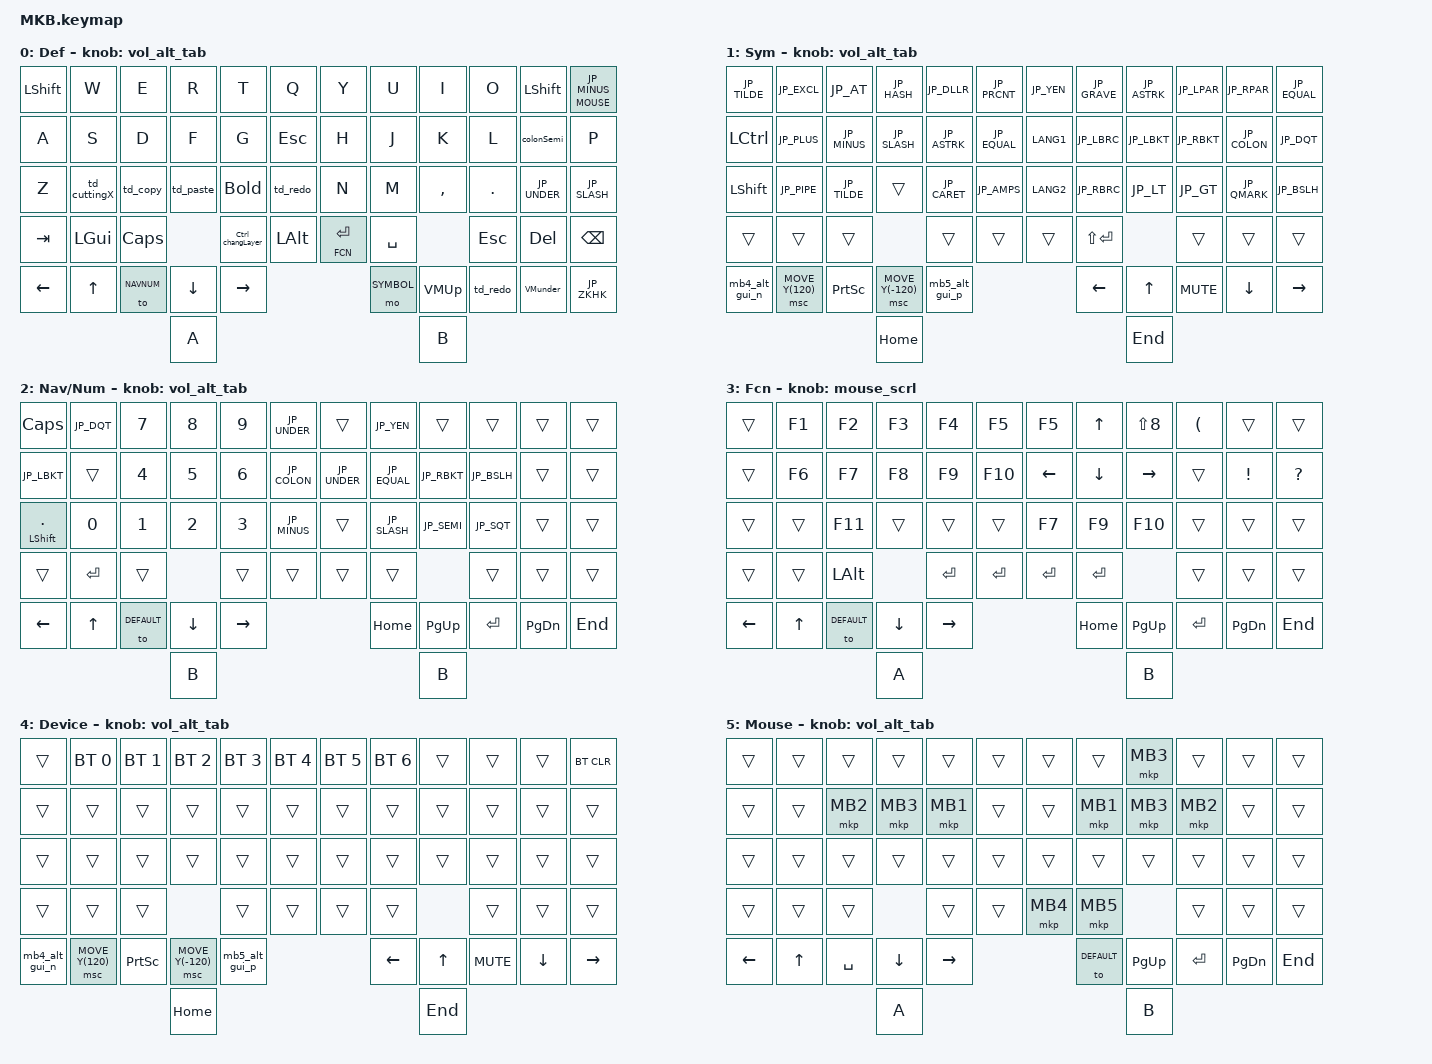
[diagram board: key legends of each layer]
#include <behaviors.dtsi>
#include <dt-bindings/zmk/bt.h>
#include <dt-bindings/zmk/keys.h>
#include <dt-bindings/zmk/pointing.h>
#include <dt-bindings/zmk/outputs.h>

#include "keycode_japanese.h"

#define DEFAULT 0
#define SYMBOL 1
#define NAVNUM 2
#define FCN 3
#define DEVICE 4
#define MOUSE 5
#define SCUP_S MOVE_Y(120)
#define SCUP_F MOVE_Y(1200)
#define SCDN_S MOVE_Y(-120)
#define SCDN_F MOVE_Y(-1200)

&mt {
    flavor = "hold-preferred";
};

&lt {
    flavor = "hold-preferred";
};

// &msc { 
//     delay-ms = <0>;
//     trigger-period-ms = <100>; // default:16
//     x-input-code = <INPUT_REL_HWHEEL>;
//     y-input-code = <INPUT_REL_WHEEL>;
//     time-to-max-speed-ms = <300>;
//     acceleration-exponent = <0>;
// };

/ {

    // msc_input_listener: msch_input_listener {
    //     compatible = "zmk,input-listener";
    //     device = <&msch>;
    //     // input-processors = 
    // };

    conditional_layers {
        compatible = "zmk,conditional-layers";
        device_layer {
            if-layers = <SYMBOL NAVNUM>;
            then-layer = <DEVICE>;
        };
    };

    combos {
        compatible = "zmk,combos";

        twinTap_TAB {
            bindings = <&kp TAB>;
            key-positions = <18 19>;
        };
    };
    behaviors {
        td_copy: td_copy {
            compatible = "zmk,behavior-tap-dance";
            label = "TD_COPY";
            #binding-cells = <0>;
            bindings = <&kp C>, <&kp LC(C)>;
            tapping-term-ms = <180>;
        };

        td_paste: td_paste {
            compatible = "zmk,behavior-tap-dance";
            label = "TD_PASTE";
            #binding-cells = <0>;
            bindings = <&kp V>, <&kp LC(V)>;
            tapping-term-ms = <180>;
        };

        td_redo: td_redo {
            compatible = "zmk,behavior-tap-dance";
            label = "TD_REDO";
            #binding-cells = <0>;
            bindings = <&kp LC(Z)>;
            tapping-term-ms = <180>;
        };

        td_cuttingX: td_cuttingX {
            compatible = "zmk,behavior-tap-dance";
            label = "TD_CUTTINGX";
            #binding-cells = <0>;
            bindings = <&kp X>, <&kp LC(X)>;
            tapping-term-ms = <180>;
        };

        Bold: Bold {
            compatible = "zmk,behavior-tap-dance";
            label = "BOLD";
            #binding-cells = <0>;
            bindings = <&kp B>, <&kp LC(B)>;
        };

        VMUp: VMUp {
            compatible = "zmk,behavior-macro";
            #binding-cells = <0>;
            bindings = <&kp LC(LG(RIGHT_ARROW))>;
            label = "VMUP";
        };

        VMunder: VMunder {
            compatible = "zmk,behavior-macro";
            #binding-cells = <0>;
            bindings = <&kp LC(LG(LEFT_ARROW))>;
            label = "VMUNDER";
        };

        TY53754: TY53754 {
            compatible = "zmk,behavior-macro";
            #binding-cells = <0>;
            bindings = <&kp LS(T) &kp LS(Y) &kp N5 &kp N3 &kp N7 &kp N5 &kp N4>;
            label = "TY53754";
            tap-ms = <150>;
        };

        word: word {
            compatible = "zmk,behavior-macro";
            #binding-cells = <0>;
            bindings = <&kp N0 &kp N5 &kp N0 &kp N2 &kp H &kp A &kp S &kp I &kp LS(M)>;
            label = "word";
        };

        Ctrl_changLayer: Ctrl_changLayer {
            compatible = "zmk,behavior-tap-dance";
            label = "CTRL_CHANGLAYER";
            #binding-cells = <0>;
            bindings = <&kp LCTRL>, <&lt NAVNUM LCTRL>;
            tapping-term-ms = <180>;
        };

        colonSemi: colonSemi {
            compatible = "zmk,behavior-tap-dance";
            label = "COLONSEMI";
            #binding-cells = <0>;
            bindings = <&kp JP_COLON>, <&kp JP_SEMI>;
            tapping-term-ms = <180>;
        };

        msch: msc-hold {
            compatible = "zmk,behavior-input-two-axis";
            #binding-cells = <1>;
            x-input-code = <INPUT_REL_HWHEEL>;
            y-input-code = <INPUT_REL_WHEEL>;
            time-to-max-speed-ms = <300>;
            acceleration-exponent = <0>;
        };
        msc_dt: msc-double-tap {
            compatible = "zmk,behavior-hold-tap";
            #binding-cells = <2>;
            flavor = "hold-preferred";
            tapping-term-ms = <100>;
            quick-tap-ms = <300>;
            bindings = <&msc>, <&msc>;
        };
        // Japanese settings
        minus: jp-minus {
            compatible = "zmk,behavior-mod-morph";
            #binding-cells = <0>;
            bindings = <&kp JP_MINUS>, <&kp JP_UNDER>;
            mods = <(MOD_LSFT|MOD_RSFT)>;
        };
        semi: jp-semi {
            compatible = "zmk,behavior-mod-morph";
            #binding-cells = <0>;
            bindings = <&kp JP_SEMI>, <&kp JP_COLON>;
            mods = <(MOD_LSFT|MOD_RSFT)>;
        };
        sqt: jp-sqt {
            compatible = "zmk,behavior-mod-morph";
            #binding-cells = <0>;
            bindings = <&kp JP_SQT>, <&kp JP_DQT>;
            mods = <(MOD_LSFT|MOD_RSFT)>;
        };

        // Hold-Tap
        plt: positional_layer_tap {
            compatible = "zmk,behavior-hold-tap";
            #binding-cells = <2>;
            flavor = "hold-preferred";
            tapping-term-ms = <1000>;
            quick-tap-ms = <200>;
            bindings = <&mo>, <&kp>;
            hold-trigger-key-positions = <0>;
        };
        mth: mt-hold-while-undecided {
            compatible = "zmk,behavior-hold-tap";
            #binding-cells = <2>;
            flavor = "hold-preferred";
            hold-while-undecided;
            tapping-term-ms = <200>;
            bindings = <&kp>, <&kp>;
        };
        lth: lt-hold-while-undecided {
            compatible = "zmk,behavior-hold-tap";
            #binding-cells = <2>;
            flavor = "hold-preferred";
            hold-while-undecided;
            tapping-term-ms = <200>;
            bindings = <&mo>, <&kp>;
        };
        mtt: mt-tap-preferred {
            compatible = "zmk,behavior-hold-tap";
            #binding-cells = <2>;
            tapping-term-ms = <150>;
            quick-tap-ms = <0>;
            flavor = "tap-preferred";
            bindings = <&kp>, <&kp>;
        };
        ltt: lt-tap-preferred {
            compatible = "zmk,behavior-hold-tap";
            #binding-cells = <2>;
            flavor = "tap-preferred";
            tapping-term-ms = <200>;
            bindings = <&mo>, <&kp>;
        };

        // Encoders
        // rot_kp: sensor_rotate_kp {
        //     compatible = "zmk,behavior-sensor-rotate";
        //     #sensor-binding-cells = <0>;
        //     bindings = <&kp LEFT>, <&kp RIGHT>;
        // };
        // msc_rot: mouse_scroll_rotate {
        //     compatible = "zmk,behavior-input-two-axis";
        //     #binding-cells = <1>;
        //     x-input-code = <INPUT_REL_HWHEEL>;
        //     y-input-code = <INPUT_REL_WHEEL>;
        //     trigger-period-ms = <16>; // default:16
        //     delay-ms = <0>;
        //     time-to-max-speed-ms = <0>;
        //     acceleration-exponent = <1>;
        // };
        mouse_scrl: mouse_wheel_scrl {
            compatible = "zmk,behavior-sensor-rotate";
            #sensor-binding-cells = <0>;
            bindings = <&msc MOVE_UP>, <&msc MOVE_DOWN>;
            tap-ms = <20>;
        };
        alt_p: alt-positive {
            compatible = "zmk,behavior-mod-morph";
            #binding-cells = <0>;
            bindings = <&kp 0>, <&kp TAB>;
            mods = <(MOD_LALT|MOD_RALT)>;
            keep-mods = <(MOD_LALT)>;
        };
        gui_p: gui-positive {
            compatible = "zmk,behavior-mod-morph";
            #binding-cells = <0>;
            bindings = <&kp 0>, <&kp RIGHT>;
            mods = <(MOD_LGUI|MOD_RGUI)>;
            keep-mods = <(MOD_LGUI)>;
        };
        ag_p: alt-gui-positive {
            compatible = "zmk,behavior-mod-morph";
            #binding-cells = <0>;
            bindings = <&gui_p>, <&alt_p>;
            mods = <(MOD_LALT|MOD_RALT)>;
        };
        vol_alt_gui_p: volume-alt-gui-positive {
            compatible = "zmk,behavior-mod-morph";
            #binding-cells = <0>;
            bindings = <&kp C_VOL_UP>, <&ag_p>;
            mods = <(MOD_LALT|MOD_RALT|MOD_LGUI|MOD_RGUI)>;
        };
        mb5_alt_gui_p: mb5-alt-gui-positive {
            compatible = "zmk,behavior-mod-morph";
            #binding-cells = <0>;
            bindings = <&mkp MB5>, <&ag_p>;
            mods = <(MOD_LALT|MOD_RALT|MOD_LGUI|MOD_RGUI)>;
        };
        alt_n: alt-negative {
            compatible = "zmk,behavior-mod-morph";
            #binding-cells = <0>;
            bindings = <&kp 0>, <&kp LS(TAB)>;
            mods = <(MOD_LALT|MOD_RALT)>;
            keep-mods = <(MOD_LALT)>;
        };
        gui_n: gui-negative {
            compatible = "zmk,behavior-mod-morph";
            #binding-cells = <0>;
            bindings = <&kp 0>, <&kp LEFT>;
            mods = <(MOD_LGUI|MOD_RGUI)>;
            keep-mods = <(MOD_LGUI)>;
        };
        ag_n: alt-gui-negative {
            compatible = "zmk,behavior-mod-morph";
            #binding-cells = <0>;
            bindings = <&gui_n>, <&alt_n>;
            mods = <(MOD_LALT|MOD_RALT)>;
        };
        vol_alt_gui_n: volume-alt-gui-negative {
            compatible = "zmk,behavior-mod-morph";
            #binding-cells = <0>;
            bindings = <&kp C_VOL_DN>, <&ag_n>;
            mods = <(MOD_LALT|MOD_RALT|MOD_LGUI|MOD_RGUI)>;
        };
        mb4_alt_gui_n: mb4-alt-gui-negative {
            compatible = "zmk,behavior-mod-morph";
            #binding-cells = <0>;
            bindings = <&mkp MB4>, <&ag_n>;
            mods = <(MOD_LALT|MOD_RALT|MOD_LGUI|MOD_RGUI)>;
        };
        vol_alt_tab: volume-alt-tab {
            compatible = "zmk,behavior-sensor-rotate";
            #sensor-binding-cells = <0>;
            bindings = <&vol_alt_gui_n>, <&vol_alt_gui_p>;
            tap-ms = <10>;
        };

    };

// arrow direction < ^ _ v >
	keymap {
		compatible = "zmk,keymap";
        default_layer {
            label = "Def";
            bindings = <
                &kp LEFT_SHIFT  &kp W         &kp E     &kp R      &kp T             &kp Q             &kp Y           &kp U      &kp I      &kp O       &kp LEFT_SHIFT  &lt MOUSE JP_MINUS
                &kp A           &kp S         &kp D     &kp F      &kp G             &kp ESCAPE        &kp H           &kp J      &kp K      &kp L       &colonSemi      &kp P
                &kp Z           &td_cuttingX  &td_copy  &td_paste  &Bold             &td_redo          &kp N           &kp M      &kp COMMA  &kp DOT     &kp JP_UNDER    &kp JP_SLASH
                &kp TAB         &kp LGUI      &kp CAPS             &Ctrl_changLayer  &kp LEFT_ALT      &lt FCN ENTER   &kp SPACE             &kp ESCAPE  &kp DELETE      &kp BACKSPACE
                &kp LEFT        &kp UP        &to NAVNUM &kp DOWN  &kp RIGHT                                           &mo SYMBOL  &VMUp      &td_redo    &VMunder        &kp JP_ZKHK
                                                        &kp A                                                                     &kp B
            >;
            sensor-bindings = <&vol_alt_tab>;
        };
		
		symbol_layer {
			label="Sym";
			bindings = <
                &kp JP_TILDE &kp JP_EXCL  &kp JP_AT     &kp JP_HASH     &kp JP_DLLR         &kp JP_PRCNT        &kp JP_YEN   &kp JP_GRAVE  &kp JP_ASTRK  &kp JP_LPAR  &kp JP_RPAR  &kp JP_EQUAL
                &kp LCTRL    &kp JP_PLUS  &kp JP_MINUS  &kp JP_SLASH    &kp JP_ASTRK        &kp JP_EQUAL        &kp LANG1    &kp JP_LBRC   &kp JP_LBKT   &kp JP_RBKT  &kp JP_COLON &kp JP_DQT
                &kp LSHIFT   &kp JP_PIPE  &kp JP_TILDE  &trans          &kp JP_CARET        &kp JP_AMPS         &kp LANG2    &kp JP_RBRC   &kp JP_LT     &kp JP_GT    &kp JP_QMARK &kp JP_BSLH
                &trans       &trans       &trans                        &trans              &trans              &trans       &kp LS(RET)                 &trans       &trans       &trans
                &mb4_alt_gui_n  &msc MOVE_Y(120)   &kp PSCRN  &msc MOVE_Y(-120)   &mb5_alt_gui_p            &kp LEFT    &kp UP          &kp C_MUTE  &kp DOWN   &kp RIGHT
                &kp HOME &kp END
			>;
            sensor-bindings = <&vol_alt_tab>;
		};
		
        navnum_layer {
            label = "Nav/Num";
            bindings = <
                &kp CAPS          &kp JP_DQT    &kp N7  &kp N8    &kp N9     &kp JP_UNDER     &trans        &kp JP_YEN    &trans       &trans         &trans     &trans
                &kp JP_LBKT       &trans        &kp N4  &kp N5    &kp N6     &kp JP_COLON     &kp JP_UNDER  &kp JP_EQUAL  &kp JP_RBKT  &kp JP_BSLH    &trans     &trans
                &mt LSHFT PERIOD  &kp N0        &kp N1  &kp N2    &kp N3     &kp JP_MINUS     &trans        &kp JP_SLASH  &kp JP_SEMI  &kp JP_SQT     &trans     &trans
                &trans            &kp ENTER     &trans            &trans     &trans            &trans        &trans                   &trans         &trans     &trans
                &kp LEFT          &kp UP        &to DEFAULT &kp DOWN  &kp RIGHT                                  &kp HOME     &kp PG_UP   &kp ENTER      &kp PG_DN  &kp END
                                                            &kp B                                                             &kp B
            >;
            sensor-bindings = <&vol_alt_tab>;
        };
		
        function_layer {
            label = "Fcn";
            bindings = <
                &trans    &kp F1  &kp F2    &kp F3    &kp F4     &kp F5         &kp F5          &kp UP_ARROW    &kp LS(N8)       &kp LPAR   &trans           &trans
                &trans    &kp F6  &kp F7    &kp F8    &kp F9     &kp F10        &kp LEFT_ARROW  &kp DOWN_ARROW  &kp RIGHT_ARROW  &trans     &kp EXCLAMATION  &kp QMARK
                &trans    &trans  &kp F11   &trans    &trans     &trans         &kp F7          &kp F9          &kp F10          &trans     &trans           &trans
                &trans    &trans  &kp LALT            &kp ENTER  &kp ENTER      &kp ENTER       &kp ENTER                        &trans     &trans           &trans
                &kp LEFT  &kp UP  &to DEFAULT &kp DOWN  &kp RIGHT                                 &kp HOME        &kp PG_UP        &kp ENTER  &kp PG_DN        &kp END
                                            &kp A                                                               &kp B
            >;
            sensor-bindings = <&mouse_scrl>;
        };
		
		device_layer {
			label="Device";
			bindings = <
                &trans            &bt BT_SEL 0     &bt BT_SEL 1     &bt BT_SEL 2     &bt BT_SEL 3     &bt BT_SEL 4         &bt BT_SEL 5      &bt BT_SEL 6     &trans           &trans           &trans           &bt BT_CLR
                &trans            &trans           &trans           &trans           &trans           &trans               &trans            &trans           &trans           &trans           &trans           &trans
                &trans            &trans           &trans           &trans           &trans           &trans               &trans            &trans           &trans           &trans           &trans           &trans
                &trans            &trans           &trans                            &trans           &trans               &trans            &trans                            &trans           &trans           &trans
                &mb4_alt_gui_n  &msc MOVE_Y(120)   &kp PSCRN  &msc MOVE_Y(-120)   &mb5_alt_gui_p            &kp LEFT    &kp UP          &kp C_MUTE  &kp DOWN   &kp RIGHT
                &kp HOME &kp END
			>;
            sensor-bindings = <&vol_alt_tab>;
		};

        mouse_layer {
            label = "Mouse";
            bindings = <
                &trans    &trans  &trans     &trans    &trans     &trans      &trans    &trans    &mkp MB3   &trans     &trans     &trans
                &trans    &trans  &mkp MB2   &mkp MB3  &mkp MB1   &trans      &trans    &mkp MB1  &mkp MB3   &mkp MB2   &trans     &trans
                &trans    &trans  &trans     &trans    &trans     &trans      &trans    &trans    &trans     &trans     &trans     &trans
                &trans    &trans  &trans               &trans     &trans      &mkp MB4  &mkp MB5             &trans     &trans     &trans
                &kp LEFT  &kp UP  &kp SPACE  &kp DOWN  &kp RIGHT                        &to DEFAULT  &kp PG_UP  &kp ENTER  &kp PG_DN  &kp END
                                            &kp A                                                &kp B
            >;
            sensor-bindings = <&vol_alt_tab>;
        };
	};
};
